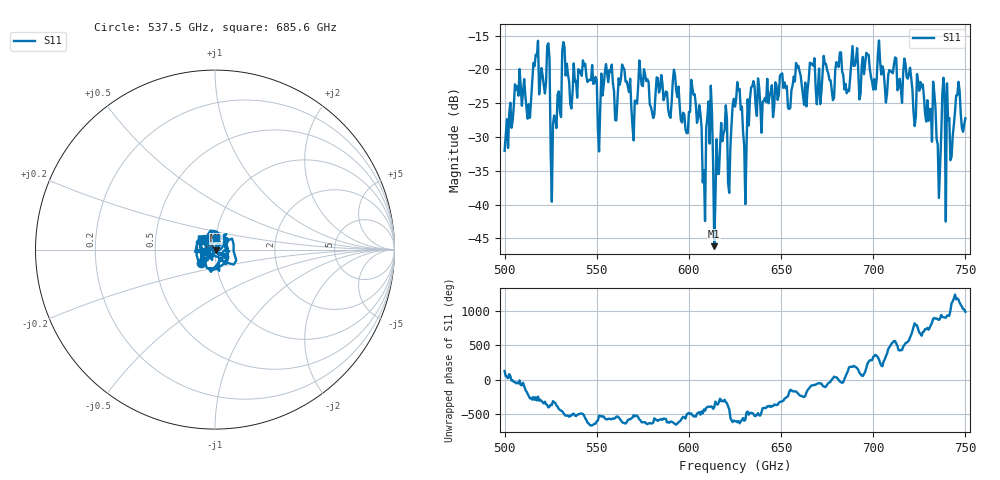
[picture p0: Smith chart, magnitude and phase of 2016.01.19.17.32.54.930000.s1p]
!Created with skrf (http://scikit-rf.org).
# GHz S RI R 50.0
!freq ReS11 ImS11
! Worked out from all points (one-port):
!   401 points, 500 GHz to 750 GHz, reference 50 ohm
!   lowest |S11| = -46.2 dB at 613.8 GHz (marker M1), VSWR 1.01, Z = 50.4 - j0.343 ohm
!   |S11| at or under -10 dB: start of sweep to end of sweep
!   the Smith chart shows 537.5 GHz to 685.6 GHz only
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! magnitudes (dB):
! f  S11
! 500 GHz  -32.1
! 506.9 GHz  -22.5
! 513.1 GHz  -25.2
! 516.9 GHz  -17.8
! 523.1 GHz  -16.5
! 526.2 GHz  -28.1
! 531.2 GHz  -17.3
! 551.9 GHz  -25.9
! 562.5 GHz  -22.3
! 570 GHz  -30.5
! 593.8 GHz  -24.1
! 598.1 GHz  -28.9
! 602.5 GHz  -23.8
! 608.1 GHz  -34.9
! 611.2 GHz  -31.0
! 613.8 GHz  -46.2
! 618.8 GHz  -29.5
! 622.5 GHz  -31.5
! 625 GHz  -25.5
! 630 GHz  -31.3
! 634.4 GHz  -22.5
! 656.2 GHz  -22.4
! 687.5 GHz  -21.2
! 718.8 GHz  -21.4
! 732.5 GHz  -21.8
! 735.6 GHz  -39.0
! 737.5 GHz  -23.6
! 750 GHz  -27.2
